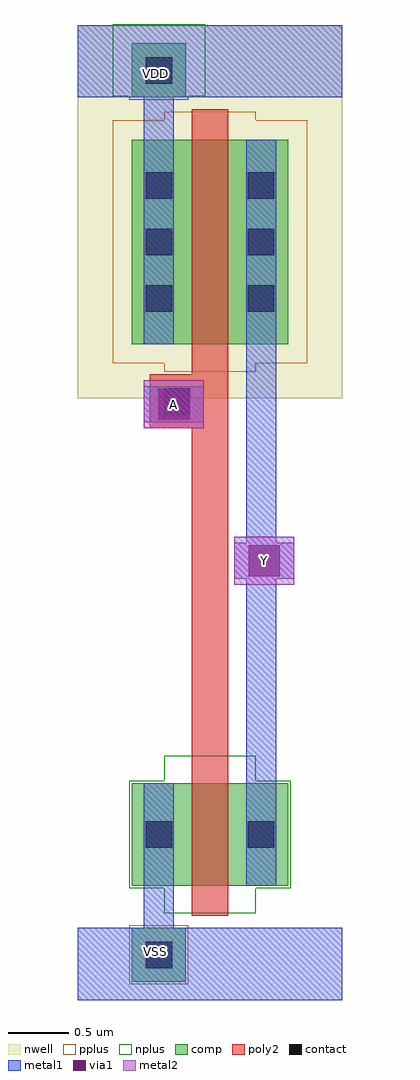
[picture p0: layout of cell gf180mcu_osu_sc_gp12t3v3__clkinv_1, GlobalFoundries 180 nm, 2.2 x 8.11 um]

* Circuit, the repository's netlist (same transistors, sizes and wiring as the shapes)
* Copyright 2022 Google LLC
*
* Licensed under the Apache License, Version 2.0 (the "License");
* you may not use this file except in compliance with the License.
* You may obtain a copy of the License at
*
*      http://www.apache.org/licenses/LICENSE-2.0
*
* Unless required by applicable law or agreed to in writing, software
* distributed under the License is distributed on an "AS IS" BASIS,
* WITHOUT WARRANTIES OR CONDITIONS OF ANY KIND, either express or implied.
* See the License for the specific language governing permissions and
* limitations under the License.

.inc "/import/yukari1/lrburle/OSU_180/char/techfiles/design.hspice"
.lib "/import/yukari1/lrburle/OSU_180/char/techfiles/sm141064.hspice" typical

.GLOBAL VDD
.GLOBAL VSS

.option scale=0.05u

.subckt gf180mcu_osu_sc_gp12t3v3__clkinv_1 A Y
X0 Y A VDD VDD pmos_3p3 w=34 l=6
X1 Y A VSS VSS nmos_3p3 w=17 l=6
.ends

** hspice subcircuit dictionary

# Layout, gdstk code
import gdstk
lib = gdstk.Library(unit=1e-6, precision=1e-09)
def R(c, l, rs):  # rectangles x0, y0, x1, y1
    for r in rs: c.add(gdstk.rectangle(r[:2], r[2:], *l))
def A(c, l, x, y, w, h, nx, ny, dx, dy):  # array of equal rectangles
    R(c, l, [(x+i*dx, y+j*dy, x+i*dx+w, y+j*dy+h) for i in range(nx) for j in range(ny)])
nwell = (21, 0)
comp = (22, 0)
poly2 = (30, 0)
pplus = (31, 0)
nplus = (32, 0)
contact = (33, 0)
metal1 = (34, 0)
via1 = (35, 0)
metal2 = (36, 0)

gf180mcu_osu_sc_gp12t3v3 = lib.new_cell('gf180mcu_osu_sc_gp12t3v3__clkinv_1')
R(gf180mcu_osu_sc_gp12t3v3, nwell, [(0,5,2.2,8.1)])
R(gf180mcu_osu_sc_gp12t3v3, comp, [(0.45,0.15,0.9,0.6), (0.45,0.95,1.75,1.8), (0.45,5.45,1.75,7.15), (0.45,7.5,0.9,7.95)])
R(gf180mcu_osu_sc_gp12t3v3, poly2, [(0.95,0.7,1.25,4.75), (0.6,4.75,1.25,5.2), (0.95,5.2,1.25,7.4)])
R(gf180mcu_osu_sc_gp12t3v3, pplus, [(0.43,0.13,0.92,0.62), (0.72,5.22,1.48,5.29), (0.29,5.29,1.91,7.31), (0.72,7.31,1.48,7.38)])
R(gf180mcu_osu_sc_gp12t3v3, nplus, [(0.72,0.72,1.48,0.93), (0.43,0.93,1.77,1.82), (0.72,1.82,1.48,2.03), (0.43,7.48,0.92,7.51), (0.29,7.51,1.06,8.11)])
A(gf180mcu_osu_sc_gp12t3v3, contact, 0.565, 5.72, 0.22, 0.22, 1, 3, 0, 0.47)
A(gf180mcu_osu_sc_gp12t3v3, contact, 1.415, 5.72, 0.22, 0.22, 1, 3, 0, 0.47)
R(gf180mcu_osu_sc_gp12t3v3, contact, [(0.565,0.265,0.785,0.485), (0.565,1.265,0.785,1.485), (1.415,1.265,1.635,1.485), (0.715,4.865,0.935,5.085), (0.565,7.615,0.785,7.835)])
R(gf180mcu_osu_sc_gp12t3v3, metal1, [(0,0,2.2,0.6), (0.55,0.6,0.8,1.8), (1.4,0.95,1.65,3.5), (1.3,3.5,1.8,3.8), (1.4,3.8,1.65,7.15), (0.55,4.8,1.05,5.1), (0.55,5.45,0.8,7.5), (0,7.5,2.2,8.1)])
R(gf180mcu_osu_sc_gp12t3v3, via1, [(1.42,3.52,1.68,3.78), (0.67,4.82,0.93,5.08)])
R(gf180mcu_osu_sc_gp12t3v3, metal2, [(1.3,3.45,1.8,3.85), (0.55,4.75,1.05,5.15)])
gf180mcu_osu_sc_gp12t3v3.add(gdstk.Label('VDD', (0.65,7.7), layer=34, texttype=0))
gf180mcu_osu_sc_gp12t3v3.add(gdstk.Label('VSS', (0.65,0.4), layer=34, texttype=0))
gf180mcu_osu_sc_gp12t3v3.add(gdstk.Label('A', (0.8,4.95), layer=36, texttype=10))
gf180mcu_osu_sc_gp12t3v3.add(gdstk.Label('Y', (1.55,3.65), layer=36, texttype=10))

lib.write_gds('gf180mcu_osu_sc_gp12t3v3__clkinv_1.gds')
